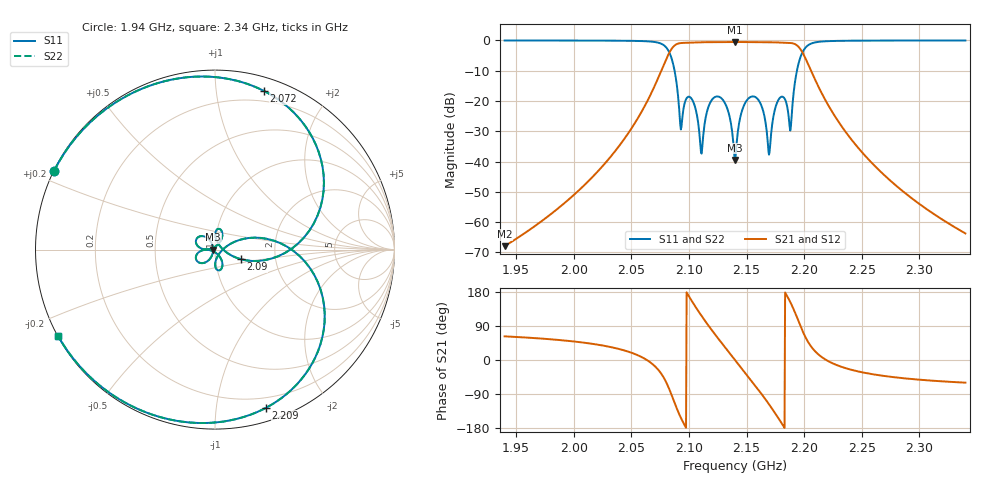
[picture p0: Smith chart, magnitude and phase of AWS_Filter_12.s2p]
!Port 1 is shunt  connected
!Port 2 is shunt  connected
!prototype= pole placed tchebycheff
!n=  5,  np= 0,  rl=  18.000dB
!transform= band pass
!f0= 2140.000MHz,  bw=  100.000MHz, q0=1200.000
!fstart= 1940.000MHz, fstep=  0.500MHz, fstop= 2340.000MHz
# MHZ S MA R 50
!Freq  Mag(S11)  Arg(S11)  Mag(S21)  Arg(S21)  Mag(S12)  Arg(S12)  Mag(S22)  Arg(S22)
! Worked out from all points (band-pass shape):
!   801 points, 1.94 GHz to 2.34 GHz, reference 50 ohm
!   highest |S21| = -0.52 dB at 2.14 GHz (marker M1); lowest = -67.9 dB at 1.94 GHz (marker M2)
!   |S21| within 3 dB of the highest: 2.084 GHz to 2.198 GHz (114.1 MHz wide, 5.33 % of centre)
!   lowest |S11| = -39.4 dB at 2.14 GHz (marker M3), VSWR 1.02, Z = 48.9 - j0.0002 ohm
!   |S11| at or under -10 dB: 2.088 GHz to 2.194 GHz (106.2 MHz wide, 4.96 % of centre)
!   |S22| runs from -39.4 to 0.0 dB; largest |S21 - S12| = 0
!   S11 on the Smith chart (normalised r, x): 1.94 GHz: 0.00, +0.23; 2.072 GHz: 0.11, +1.35; 2.09 GHz: 1.33, -0.14; 2.209 GHz: 0.11, -1.37; 2.34 GHz: 0.00, -0.26
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1940  0.9978 153.8  0.0004012 62.4  0.0004012 62.4  0.9978 153.8
2007  0.9944 138.6  0.003719 46.4  0.003719 46.4  0.9944 138.6
2072.5  0.925 72.8  0.2207 -22.8  0.2207 -22.8  0.925 72.8
2073.5  0.9152 69.5  0.2441 -26.3  0.2441 -26.3  0.9152 69.5
2082  0.6869 28.3  0.5765 -70.1  0.5765 -70.1  0.6869 28.3
2090  0.1529 -20.4  0.8777 -131.8  0.8777 -131.8  0.1529 -20.4
2093.5  0.03736 60.2  0.9062 -155.6  0.9062 -155.6  0.03736 60.2
2100  0.1177 78.2  0.9167 168.1  0.9167 168.1  0.1177 78.2
2110.5  0.01409 99.6  0.933 118.5  0.933 118.5  0.01409 99.6
2114.5  0.0529 178.8  0.9342 101.1  0.9342 101.1  0.0529 178.8
2128.5  0.1095 136.9  0.9349 44.6  0.9349 44.6  0.1095 136.9
2140  0.01067 -180.0  0.9414 -0.0  0.9414 -0.0  0.01067 -180.0
2149.5  0.09755 -130.3  0.9369 -36.7  0.9369 -36.7  0.09755 -130.3
2162.5  0.08764 -172.3  0.9349 -87.5  0.9349 -87.5  0.08764 -172.3
2169.5  0.01298 -123.1  0.935 -116.8  0.935 -116.8  0.01298 -123.1
2181.5  0.1172 -80.8  0.9185 -171.8  0.9185 -171.8  0.1172 -80.8
2188  0.03246 -37.4  0.9083 152.8  0.9083 152.8  0.03246 -37.4
2194  0.3331 8.5  0.8218 111.2  0.8218 111.2  0.3331 8.5
2207  0.8992 -63.9  0.2868 31.8  0.2868 31.8  0.8992 -63.9
2209.5  0.9262 -72.2  0.2255 23.1  0.2255 23.1  0.9262 -72.2
2273.5  0.9943 -135.7  0.005102 -43.7  0.005102 -43.7  0.9943 -135.7
2340  0.9977 -151.1  0.0006515 -59.8  0.0006515 -59.8  0.9977 -151.1
